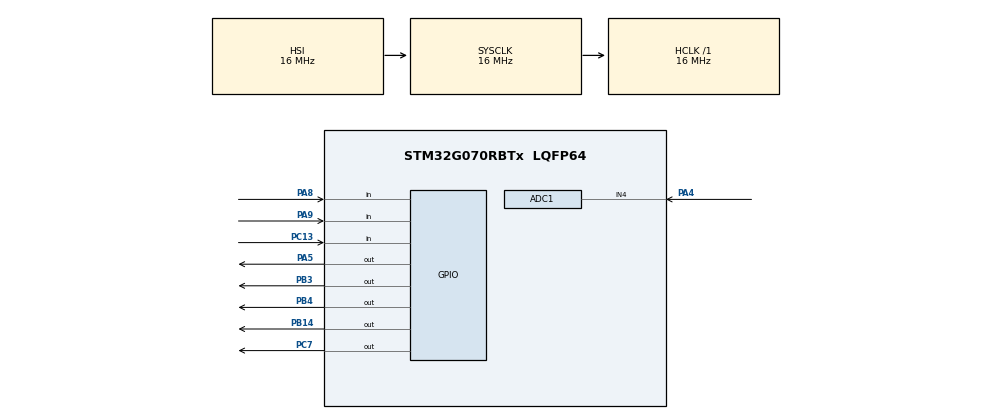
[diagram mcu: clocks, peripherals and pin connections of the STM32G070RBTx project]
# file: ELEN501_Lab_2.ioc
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ADC1.Channel-0\#ChannelRegularConversion=ADC_CHANNEL_4
ADC1.NbrOfConversionFlag=1
ADC1.Rank-0\#ChannelRegularConversion=1
ADC1.SamplingTime-0\#ChannelRegularConversion=ADC_SAMPLINGTIME_COMMON_1
ADC1.SelectedChannel=ADC_CHANNEL_4
ADC1.master=1
Mcu.Family=STM32G0
Mcu.Name=STM32G070RBTx
Mcu.Package=LQFP64
NVIC.ADC1_IRQn=true\:0\:0\:false\:false\:true\:true\:true
PA4.Mode=IN4
PA4.Signal=ADC1_IN4
PA5.GPIO_PuPd=GPIO_NOPULL
PA5.Signal=GPIO_Output
PA8.Signal=GPIO_Input
PA9.Signal=GPIO_Input
PB14.Signal=GPIO_Output
PB3.Signal=GPIO_Output
PB4.Signal=GPIO_Output
PC13.Signal=GPIO_Input
PC7.Signal=GPIO_Output
ProjectManager.HeapSize=0x200
ProjectManager.StackSize=0x400
ProjectManager.TargetToolchain=EWARM V8.32
RCC.AHBFreq_Value=16000000
RCC.CortexFreq_Value=16000000
RCC.EXTERNAL_CLOCK_VALUE=48000
RCC.HCLKFreq_Value=16000000
RCC.HSE_VALUE=8000000
RCC.HSI_VALUE=16000000
RCC.LSE_VALUE=32768
RCC.SYSCLKFreq_VALUE=16000000
RCC.VCOOutputFreq_Value=128000000
VP_SYS_VS_DBSignals.Mode=DisableDeadBatterySignals
board=custom

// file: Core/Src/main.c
/* USER CODE BEGIN Header */
/**
  ******************************************************************************
  * @file           : main.c
  * @brief          : Main program body
  ******************************************************************************
  * @attention
  *
  * <h2><center>&copy; Copyright (c) 2021 STMicroelectronics.
  * All rights reserved.</center></h2>
  *
  * This software component is licensed by ST under BSD 3-Clause license,
  * the "License"; You may not use this file except in compliance with the
  * License. You may obtain a copy of the License at:
  *                        opensource.org/licenses/BSD-3-Clause
  *
  ******************************************************************************
  */
/* USER CODE END Header */
#include "main.h"

/* USER CODE BEGIN PD */
#define RED_LED         GPIO_PIN_14
#define GREEN_LED       GPIO_PIN_4
#define BLUE_LED        GPIO_PIN_3
#define RED_LED_DIFF    GPIO_PIN_7
/* USER CODE END PD */

ADC_HandleTypeDef hadc1;

/* USER CODE BEGIN PV */
// scheduler stuff
extern uint8_t ten_mS_Flag;
extern uint8_t twentyfive_mS_Flag;
extern uint8_t hundred_mS_Flag;
extern uint8_t one_S_Flag;

// LED Stuff
uint8_t ledSeq = 0;
uint8_t speed = 0;
uint8_t LED_en = true;
uint16_t count = 0;

// Button Stuff
uint8_t buttons = 0x07;

// ADC Stuff
uint16_t adcValue;
/* USER CODE END PV */

void SystemClock_Config(void);
static void MX_GPIO_Init(void);
static void MX_ADC1_Init(void);

int main(void)
{

  /* MCU Configuration--------------------------------------------------------*/

  /* Reset of all peripherals, Initializes the Flash interface and the Systick. */
  HAL_Init();

  /* Configure the system clock */
  SystemClock_Config();

  /* Initialize all configured peripherals */
  MX_GPIO_Init();
  MX_ADC1_Init();

  /* Infinite loop */
  /* USER CODE BEGIN WHILE */
  while (1)
  {
    /* Determine the sequencing speed */
    if(adcValue < 500) {speed = 25;}    //250ms with 10ms count base
    else if((adcValue >= 500) && (adcValue < 1500)) {speed = 50;}    //500ms with 10ms count base
    else if(adcValue >= 1500 && adcValue < 2500) {speed = 75;}   //750ms with 10ms count base
    else {speed = 100;}         //1000ms with 10ms base

    //---------------------------------
    // 10mS Tasks
    if (ten_mS_Flag) {
      ten_mS_Flag = false;

      count++;  // Create 10ms base counter for LED sequencing speed control
    }  // end of 10mS Tasks
    //---------------------------------

    //---------------------------------
    // 25mS Tasks
    if (twentyfive_mS_Flag) {
      twentyfive_mS_Flag = false;

      buttons = (HAL_GPIO_ReadPin(GPIOA, GPIO_PIN_8) << 2) | (HAL_GPIO_ReadPin(GPIOA, GPIO_PIN_9) << 1) | (HAL_GPIO_ReadPin(GPIOC, GPIO_PIN_13) << 0) ;

      /* LED sequence enable and disable */
      if(!HAL_GPIO_ReadPin(GPIOA, GPIO_PIN_8)) {LED_en = true;}
      else if(!HAL_GPIO_ReadPin(GPIOA, GPIO_PIN_9)) {LED_en = false;}
    }  // end of 25mS Tasks
    //---------------------------------

    //---------------------------------
    // 100mS Tasks
    if (hundred_mS_Flag) {
      hundred_mS_Flag = false;

      HAL_ADC_Start_IT(&hadc1);

    }  // end of 100mS Tasks
    //---------------------------------

    //---------------------------------
    // 1 Sec Tasks
    if (one_S_Flag) {
      one_S_Flag = false;

    } // end of 1Sec Tasks
    //---------------------------------

    if(count >= speed) {
      if(LED_en){       // Continue sequence only when enabled
        switch (ledSeq++) {
        case 0:
          HAL_GPIO_WritePin(GPIOB, RED_LED, GPIO_PIN_SET);
          break;
        case 1:
          HAL_GPIO_WritePin(GPIOB, GREEN_LED, GPIO_PIN_SET);
          break;
        case 2:
          HAL_GPIO_WritePin(GPIOB, BLUE_LED, GPIO_PIN_SET);
          break;
        case 3:
          HAL_GPIO_WritePin(GPIOC, RED_LED_DIFF, GPIO_PIN_RESET);
          break;
        case 4:
          HAL_GPIO_WritePin(GPIOA, GPIO_PIN_5, GPIO_PIN_SET);
          break;
        case 5:
          HAL_GPIO_WritePin(GPIOB, RED_LED, GPIO_PIN_RESET);
          break;
        case 6:
          HAL_GPIO_WritePin(GPIOB, GREEN_LED, GPIO_PIN_RESET);
          break;
        case 7:
          HAL_GPIO_WritePin(GPIOB, BLUE_LED, GPIO_PIN_RESET);
          break;
        case 8:
          HAL_GPIO_WritePin(GPIOC, RED_LED_DIFF, GPIO_PIN_SET);
          break;
        case 9:
          HAL_GPIO_WritePin(GPIOA, GPIO_PIN_5, GPIO_PIN_RESET);
          ledSeq = 0;
          break;
        default:
          break;
        }
      }
      count = 0;        //Reset counter
    }

    if(ledSeq > 9) ledSeq = 0;

    /* USER CODE END WHILE */

  }
}

void SystemClock_Config(void)
{
  RCC_OscInitTypeDef RCC_OscInitStruct = {0};
  RCC_ClkInitTypeDef RCC_ClkInitStruct = {0};
  RCC_PeriphCLKInitTypeDef PeriphClkInit = {0};

  /** Configure the main internal regulator output voltage
  */
  HAL_PWREx_ControlVoltageScaling(PWR_REGULATOR_VOLTAGE_SCALE1);
  /** Initializes the RCC Oscillators according to the specified parameters
  * in the RCC_OscInitTypeDef structure.
  */
  RCC_OscInitStruct.OscillatorType = RCC_OSCILLATORTYPE_HSI;
  RCC_OscInitStruct.HSIState = RCC_HSI_ON;
  RCC_OscInitStruct.HSIDiv = RCC_HSI_DIV1;
  RCC_OscInitStruct.HSICalibrationValue = RCC_HSICALIBRATION_DEFAULT;
  RCC_OscInitStruct.PLL.PLLState = RCC_PLL_NONE;
  if (HAL_RCC_OscConfig(&RCC_OscInitStruct) != HAL_OK)
  {
    Error_Handler();
  }
  /** Initializes the CPU, AHB and APB buses clocks
  */
  RCC_ClkInitStruct.ClockType = RCC_CLOCKTYPE_HCLK|RCC_CLOCKTYPE_SYSCLK
                              |RCC_CLOCKTYPE_PCLK1;
  RCC_ClkInitStruct.SYSCLKSource = RCC_SYSCLKSOURCE_HSI;
  RCC_ClkInitStruct.AHBCLKDivider = RCC_SYSCLK_DIV1;
  RCC_ClkInitStruct.APB1CLKDivider = RCC_HCLK_DIV1;

  if (HAL_RCC_ClockConfig(&RCC_ClkInitStruct, FLASH_LATENCY_0) != HAL_OK)
  {
    Error_Handler();
  }
  /** Initializes the peripherals clocks
  */
  PeriphClkInit.PeriphClockSelection = RCC_PERIPHCLK_ADC;
  PeriphClkInit.AdcClockSelection = RCC_ADCCLKSOURCE_SYSCLK;
  if (HAL_RCCEx_PeriphCLKConfig(&PeriphClkInit) != HAL_OK)
  {
    Error_Handler();
  }
}

static void MX_ADC1_Init(void)
{

  ADC_ChannelConfTypeDef sConfig = {0};

  /** Configure the global features of the ADC (Clock, Resolution, Data Alignment and number of conversion)
  */
  hadc1.Instance = ADC1;
  hadc1.Init.ClockPrescaler = ADC_CLOCK_SYNC_PCLK_DIV2;
  hadc1.Init.Resolution = ADC_RESOLUTION_12B;
  hadc1.Init.DataAlign = ADC_DATAALIGN_RIGHT;
  hadc1.Init.ScanConvMode = ADC_SCAN_DISABLE;
  hadc1.Init.EOCSelection = ADC_EOC_SINGLE_CONV;
  hadc1.Init.LowPowerAutoWait = DISABLE;
  hadc1.Init.LowPowerAutoPowerOff = DISABLE;
  hadc1.Init.ContinuousConvMode = DISABLE;
  hadc1.Init.NbrOfConversion = 1;
  hadc1.Init.DiscontinuousConvMode = DISABLE;
  hadc1.Init.ExternalTrigConv = ADC_SOFTWARE_START;
  hadc1.Init.ExternalTrigConvEdge = ADC_EXTERNALTRIGCONVEDGE_NONE;
  hadc1.Init.DMAContinuousRequests = DISABLE;
  hadc1.Init.Overrun = ADC_OVR_DATA_PRESERVED;
  hadc1.Init.SamplingTimeCommon1 = ADC_SAMPLETIME_1CYCLE_5;
  hadc1.Init.SamplingTimeCommon2 = ADC_SAMPLETIME_1CYCLE_5;
  hadc1.Init.OversamplingMode = DISABLE;
  hadc1.Init.TriggerFrequencyMode = ADC_TRIGGER_FREQ_HIGH;
  if (HAL_ADC_Init(&hadc1) != HAL_OK)
  {
    Error_Handler();
  }
  /** Configure Regular Channel
  */
  sConfig.Channel = ADC_CHANNEL_4;
  sConfig.Rank = ADC_REGULAR_RANK_1;
  sConfig.SamplingTime = ADC_SAMPLINGTIME_COMMON_1;
  if (HAL_ADC_ConfigChannel(&hadc1, &sConfig) != HAL_OK)
  {
    Error_Handler();
  }

}

static void MX_GPIO_Init(void)
{
  GPIO_InitTypeDef GPIO_InitStruct = {0};

  /* GPIO Ports Clock Enable */
  __HAL_RCC_GPIOC_CLK_ENABLE();
  __HAL_RCC_GPIOA_CLK_ENABLE();
  __HAL_RCC_GPIOB_CLK_ENABLE();

  /*Configure GPIO pin Output Level */
  HAL_GPIO_WritePin(GPIOA, GPIO_PIN_5, GPIO_PIN_RESET);

  /*Configure GPIO pin Output Level */
  HAL_GPIO_WritePin(GPIOB, GPIO_PIN_14|GPIO_PIN_3|GPIO_PIN_4, GPIO_PIN_RESET);

  /*Configure GPIO pin Output Level */
  HAL_GPIO_WritePin(GPIOC, GPIO_PIN_7, GPIO_PIN_RESET);

  /*Configure GPIO pin : PC13 */
  GPIO_InitStruct.Pin = GPIO_PIN_13;
  GPIO_InitStruct.Mode = GPIO_MODE_INPUT;
  GPIO_InitStruct.Pull = GPIO_NOPULL;
  HAL_GPIO_Init(GPIOC, &GPIO_InitStruct);

  /*Configure GPIO pin : PA5 */
  GPIO_InitStruct.Pin = GPIO_PIN_5;
  GPIO_InitStruct.Mode = GPIO_MODE_OUTPUT_PP;
  GPIO_InitStruct.Pull = GPIO_NOPULL;
  GPIO_InitStruct.Speed = GPIO_SPEED_FREQ_LOW;
  HAL_GPIO_Init(GPIOA, &GPIO_InitStruct);

  /*Configure GPIO pins : PB14 PB3 PB4 */
  GPIO_InitStruct.Pin = GPIO_PIN_14|GPIO_PIN_3|GPIO_PIN_4;
  GPIO_InitStruct.Mode = GPIO_MODE_OUTPUT_PP;
  GPIO_InitStruct.Pull = GPIO_NOPULL;
  GPIO_InitStruct.Speed = GPIO_SPEED_FREQ_LOW;
  HAL_GPIO_Init(GPIOB, &GPIO_InitStruct);

  /*Configure GPIO pins : PA8 PA9 */
  GPIO_InitStruct.Pin = GPIO_PIN_8|GPIO_PIN_9;
  GPIO_InitStruct.Mode = GPIO_MODE_INPUT;
  GPIO_InitStruct.Pull = GPIO_NOPULL;
  HAL_GPIO_Init(GPIOA, &GPIO_InitStruct);

  /*Configure GPIO pin : PC7 */
  GPIO_InitStruct.Pin = GPIO_PIN_7;
  GPIO_InitStruct.Mode = GPIO_MODE_OUTPUT_PP;
  GPIO_InitStruct.Pull = GPIO_NOPULL;
  GPIO_InitStruct.Speed = GPIO_SPEED_FREQ_LOW;
  HAL_GPIO_Init(GPIOC, &GPIO_InitStruct);

}

void Error_Handler(void)
{
  __disable_irq();
  while (1)
  {
  }
}

/************************ (C) COPYRIGHT STMicroelectronics *****END OF FILE****/
